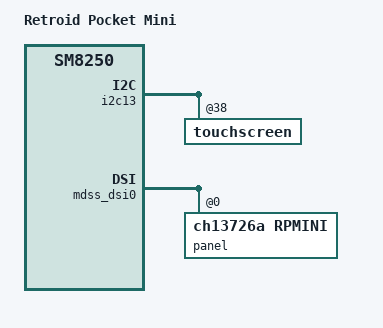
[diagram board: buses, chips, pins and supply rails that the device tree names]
// SPDX-License-Identifier: BSD-3-Clause
/*
 * Copyright (c) 2024, Retroid Pocket.
 */

/dts-v1/;

#include "sm8250-retroidpocket-common.dtsi"

/ {
	model = "Retroid Pocket Mini";
	compatible = "retroidpocket,rpmini", "qcom,sm8250";

	chosen {
		#address-cells = <2>;
		#size-cells = <2>;
		ranges;

		framebuffer: framebuffer@9c000000 {
			compatible = "simple-framebuffer";
			reg = <0x0 0x9c000000 0x0 0x2300000>;
			width = <960>;
			height = <1280>;
			stride = <(960 * 4)>;
			format = "a8r8g8b8";
		};
	};

	multi-ledr1 {
		compatible = "leds-group-multicolor";
		color = <LED_COLOR_ID_RGB>;
		function = "r1";
		leds = <&ledr_r1>, <&ledr_g1>, <&ledr_b1>;
	};

	multi-ledl1 {
		compatible = "leds-group-multicolor";
		color = <LED_COLOR_ID_RGB>;
		function = "l1";
		leds = <&ledl_r1>, <&ledl_g1>, <&ledl_b1>;
	};

	multi-ledr2 {
		compatible = "leds-group-multicolor";
		color = <LED_COLOR_ID_RGB>;
		function = "r2";
		leds = <&ledr_r2>, <&ledr_g2>, <&ledr_b2>;
	};

	multi-ledl2 {
		compatible = "leds-group-multicolor";
		color = <LED_COLOR_ID_RGB>;
		function = "l2";
		leds = <&ledl_r2>, <&ledl_g2>, <&ledl_b2>;
	};

	multi-ledr3 {
		compatible = "leds-group-multicolor";
		color = <LED_COLOR_ID_RGB>;
		function = "r3";
		leds = <&ledr_r3>, <&ledr_g3>, <&ledr_b3>;
	};

	multi-ledl3 {
		compatible = "leds-group-multicolor";
		color = <LED_COLOR_ID_RGB>;
		function = "l3";
		leds = <&ledl_r3>, <&ledl_g3>, <&ledl_b3>;
	};

	multi-ledr4 {
		compatible = "leds-group-multicolor";
		color = <LED_COLOR_ID_RGB>;
		function = "r4";
		leds = <&ledr_r4>, <&ledr_g4>, <&ledr_b4>;
	};

	multi-ledl4 {
		compatible = "leds-group-multicolor";
		color = <LED_COLOR_ID_RGB>;
		function = "l4";
		leds = <&ledl_r4>, <&ledl_g4>, <&ledl_b4>;
	};
};

&i2c13 {
	touchscreen@38 {
		touchscreen-size-x = <960>;
		touchscreen-size-y = <1280>;
	};
};

&mdss_dsi0 {
	panel@0 {
		compatible = "ch13726a,rpmini";
		rotation = <90>;
	};
};
